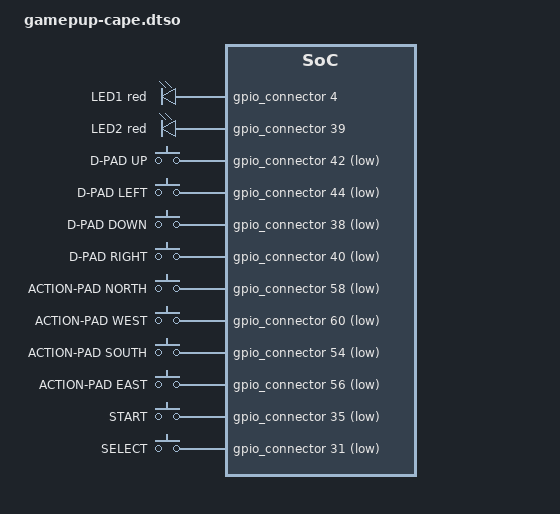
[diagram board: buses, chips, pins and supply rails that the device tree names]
// SPDX-License-Identifier: GPL-2.0-only OR MIT
/*
 * Copyright (C) 2025 Ayush Singh, BeagleBoard.org Foundation
 */

/dts-v1/;
/plugin/;

#include <dt-bindings/leds/common.h>
#include <dt-bindings/gpio/gpio.h>
#include <dt-bindings/input/input.h>

/ {
	fragment@0 {
		target-path="";

		__overlay__ {
			cape-leds {
				compatible = "gpio-leds";
				pinctrl-names = "default";
				pinctrl-0 = <&P1_04_GPIO_PINMUX &P2_03_GPIO_PINMUX>;

				led-1 {
					gpios = <&gpio_connector 4 GPIO_ACTIVE_HIGH>;
					color = <LED_COLOR_ID_RED>;
					label = "LED1";
				};

				led-2 {
					gpios = <&gpio_connector 39 GPIO_ACTIVE_HIGH>;
					color = <LED_COLOR_ID_RED>;
					label = "LED2";
				};
			};

			buttons {
				compatible = "gpio-keys";
				pinctrl-names = "default";
				pinctrl-0 = <
					&P2_06_GPIO_PINMUX &P2_02_GPIO_PINMUX &P2_08_GPIO_PINMUX 
					&P2_04_GPIO_PINMUX &P1_31_GPIO_PINMUX &P2_22_GPIO_PINMUX 
					&P2_18_GPIO_PINMUX &P2_24_GPIO_PINMUX &P2_20_GPIO_PINMUX 
					&P1_35_GPIO_PINMUX
				>;

				left-top {
					label = "D-PAD UP";
					gpios = <&gpio_connector 42 GPIO_ACTIVE_LOW>;
        				linux,code = <BTN_FORWARD>;
				};
				left-left {
					label = "D-PAD LEFT";
					gpios = <&gpio_connector 44 GPIO_ACTIVE_LOW>;
        				linux,code = <BTN_LEFT>;
				};
				left-bottom {
					label = "D-PAD DOWN";
					gpios = <&gpio_connector 38 GPIO_ACTIVE_LOW>;
        				linux,code = <BTN_BACK>;
				};
				left-right {
					label = "D-PAD RIGHT";
					gpios = <&gpio_connector 40 GPIO_ACTIVE_LOW>;
        				linux,code = <BTN_RIGHT>;
				};

				right-top {
					label = "ACTION-PAD NORTH";
					gpios = <&gpio_connector 58 GPIO_ACTIVE_LOW>;
        				linux,code = <BTN_NORTH>;
				};
				right-left {
					label = "ACTION-PAD WEST";
					gpios = <&gpio_connector 60 GPIO_ACTIVE_LOW>;
        				linux,code = <BTN_WEST>;
				};
				right-bottom {
					label = "ACTION-PAD SOUTH";
					gpios = <&gpio_connector 54 GPIO_ACTIVE_LOW>;
        				linux,code = <BTN_SOUTH>;
				};
				right-right {
					label = "ACTION-PAD EAST";
					gpios = <&gpio_connector 56 GPIO_ACTIVE_LOW>;
        				linux,code = <BTN_EAST>;
				};

				start {
					label = "START";
					gpios = <&gpio_connector 35 GPIO_ACTIVE_LOW>;
        				linux,code = <BTN_START>;
				};
				select {
					label = "SELECT";
					gpios = <&gpio_connector 31 GPIO_ACTIVE_LOW>;
        				linux,code = <BTN_SELECT>;
				};
			};

			buzzer {
				compatible = "pwm-beeper";
				pinctrl-names = "default";
				pinctrl-0 = <&P1_33_PWM_PINMUX>;
				pwms = <&pwm_connector 33 255 0>;
			};
		};
	};
};
